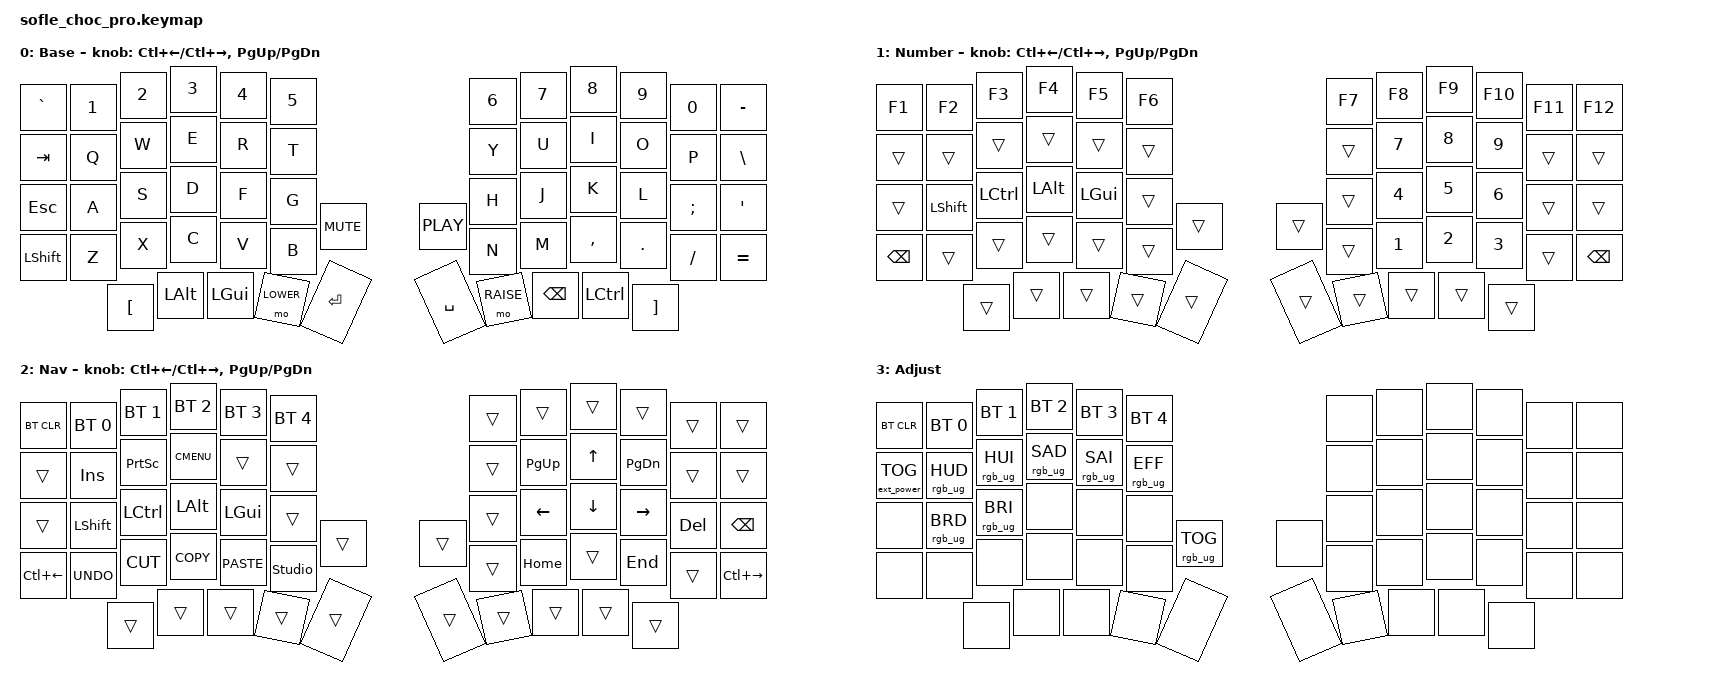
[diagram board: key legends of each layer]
/*
* Copyright (c) 2020 The ZMK Contributors
*
* SPDX-License-Identifier: MIT
*/

#include <behaviors.dtsi>
#include <dt-bindings/zmk/keys.h>
#include <dt-bindings/zmk/bt.h>
#include <dt-bindings/zmk/rgb.h>
#include <dt-bindings/zmk/ext_power.h>

#define BASE 0
#define LOWER 1
#define RAISE 2
#define ADJUST 3

/ {

  // Activate ADJUST layer by pressing raise and lower
  conditional_layers {
    compatible = "zmk,conditional-layers";
    adjust_layer {
      if-layers = <LOWER RAISE>;
      then-layer = <ADJUST>;
    };
  };

  keymap {
    compatible = "zmk,keymap";

    default_layer {
      display-name = "Base";
      // ------------------------------------------------------------------------------------------------------------
      // |   `   |  1  |  2  |  3   |  4   |  5   |                   |  6   |  7    |  8    |  9   |   0   |   `   |
      // |  ESC  |  Q  |  W  |  E   |  R   |  T   |                   |  Y   |  U    |  I    |  O   |   P   | BKSPC |
      // |  TAB  |  A  |  S  |  D   |  F   |  G   |                   |  H   |  J    |  K    |  L   |   ;   |   '   |
      // | SHIFT |  Z  |  X  |  C   |  V   |  B   |  MUTE  |  | PLAY  |  N   |  M    |  ,    |  .   |   /   | SHIFT |
      //               | GUI | ALT  | CTRL | LOWER|  ENTER |  | SPACE | RAISE| CTRL  | ALT   | GUI  |
      bindings = <
        &kp GRAVE &kp N1 &kp N2   &kp N3   &kp N4    &kp N5                           &kp N6 &kp N7    &kp N8    &kp N9   &kp N0   &kp MINUS
        &kp TAB   &kp Q  &kp W    &kp E    &kp R     &kp T                            &kp Y  &kp U     &kp I     &kp O    &kp P    &kp BSLH
        &kp ESC   &kp A  &kp S    &kp D    &kp F     &kp G                            &kp H  &kp J     &kp K     &kp L    &kp SEMI &kp SQT
        &kp LSHFT &kp Z  &kp X    &kp C    &kp V     &kp B   &kp C_MUTE &kp C_PLAY    &kp N  &kp M     &kp COMMA &kp DOT  &kp FSLH &kp EQUAL
        &kp LBKT  &kp LALT &kp LGUI &mo LOWER  &kp RET    &kp SPACE  &mo RAISE  &kp BSPC &kp LCTRL  &kp RBKT
      >;

      sensor-bindings = <&inc_dec_kp LC(LEFT) LC(RIGHT) &inc_dec_kp PG_UP PG_DN>;
    };

    lower_layer {
      display-name = "Number";
      // ------------------------------------------------------------------------------------------------------------
      // |       |  F1 |  F2 |  F3  |  F4  |  F5  |                   |  F6  |  F7   |  F8   |  F9  |  F10  |  F11  |
      // |   `   |  1  |  2  |  3   |  4   |  5   |                   |  6   |  7    |  8    |  9   |   0   |  F12  |
      // |       |  !  |  @  |  #   |  $   |  %   |                   |  ^   |  &    |  *    |  (   |   )   |   |   |
      // |       |  =  |  -  |  +   |  {   |  }   |        |  |       |  [   |  ]    |  ;    |  :   |   \   |       |
      //               |     |      |      |      |        |  |       |      |       |       |      |
      bindings = <
        &kp F1       &kp F2    &kp F3    &kp F4      &kp F5    &kp F6                    &kp F7    &kp F8   &kp F9    &kp F10   &kp F11   &kp F12
        &trans       &trans    &trans    &trans      &trans    &trans                    &trans    &kp N7   &kp N8    &kp N9    &trans    &trans
        &trans       &kp LSHFT &kp LCTRL &kp LALT    &kp LGUI  &trans                    &trans    &kp N4   &kp N5    &kp N6    &trans    &trans
        &kp BSPC       &trans    &trans    &trans      &trans    &trans   &trans &trans    &trans    &kp N1   &kp N2    &kp N3    &trans    &kp BSPC
                           &trans    &trans    &trans      &trans    &trans &trans     &trans   &trans    &trans    &trans
      >;

      sensor-bindings = <&inc_dec_kp LC(LEFT) LC(RIGHT) &inc_dec_kp PG_UP PG_DN>;
    };

    raise_layer {
      display-name = "Nav";
      // ------------------------------------------------------------------------------------------------------------
      // | BTCLR | BT1  | BT2  |  BT3  |  BT4  |  BT5 |                |      |      |       |      |       |       |
      // |       | INS  | PSCR | GUI   |       |      |                | PGUP |      |   ^   |      |       |       |
      // |       | ALT  | CTRL | SHIFT |       | CAPS |                | PGDN |   <- |   v   |  ->  |  DEL  | BKSPC |
      // |       | UNDO | CUT  | COPY  | PASTE | STUD |      |  |      |      |      |       |      |       |       |
      //                |      |       |       |      |      |  |      |      |      |       |      |
      bindings = <
        &bt BT_CLR    &bt BT_SEL 0 &bt BT_SEL 1 &bt BT_SEL 2 &bt BT_SEL 3 &bt BT_SEL 4                      &trans    &trans    &trans    &trans     &trans   &trans
        &trans        &kp INS      &kp PSCRN    &kp K_CMENU  &trans       &trans                            &trans    &kp PG_UP &kp UP    &kp PG_DN  &trans   &trans
        &trans        &kp LSHFT    &kp LCTRL    &kp LALT     &kp LGUI     &trans                            &trans    &kp LEFT  &kp DOWN  &kp RIGHT  &kp DEL  &kp BSPC
        &kp LC(LEFT)  &kp K_UNDO   &kp K_CUT    &kp K_COPY   &kp K_PASTE  &studio_unlock  &trans  &trans    &trans    &kp HOME  &trans    &kp END    &trans   &kp LC(RIGHT)
        &trans       &trans       &trans       &trans          &trans  &trans    &trans    &trans    &trans    &trans
      >;

      sensor-bindings = <&inc_dec_kp LC(LEFT) LC(RIGHT) &inc_dec_kp PG_UP PG_DN>;
    };

    adjust_layer {
      // ----------------------------------------------------------------------------------------------------------------------------
      // | BTCLR  |  BT1    |  BT2    |   BT3   |   BT4   |   BT5   |                  |      |      |       |      |       |       |
      // | EXTPWR | RGB_HUD | RGB_HUI | RGB_SAD | RGB_SAI | RGB_EFF |                  |      |      |       |      |       |       |
      // |        | RGB_BRD | RGB_BRI |         |         |         |                  |      |      |       |      |       |       |
      // |        |         |         |         |         |         | RGB_TOG | |      |      |      |       |      |       |       |
      //                    |         |         |         |         |         | |      |      |      |       |      |
      display-name = "Adjust";
      bindings = <
        &bt BT_CLR        &bt BT_SEL 0    &bt BT_SEL 1    &bt BT_SEL 2    &bt BT_SEL 3    &bt BT_SEL 4                            &none &none &none &none &none &none
        &ext_power EP_TOG &rgb_ug RGB_HUD &rgb_ug RGB_HUI &rgb_ug RGB_SAD &rgb_ug RGB_SAI &rgb_ug RGB_EFF                         &none &none &none &none &none &none
        &none             &rgb_ug RGB_BRD &rgb_ug RGB_BRI &none           &none           &none                                   &none &none &none &none &none &none
        &none             &none           &none           &none           &none           &none           &rgb_ug RGB_TOG &none   &none &none &none &none &none &none
        &none           &none           &none           &none            &none           &none  &none &none &none &none
      >;
    };
  };
};
